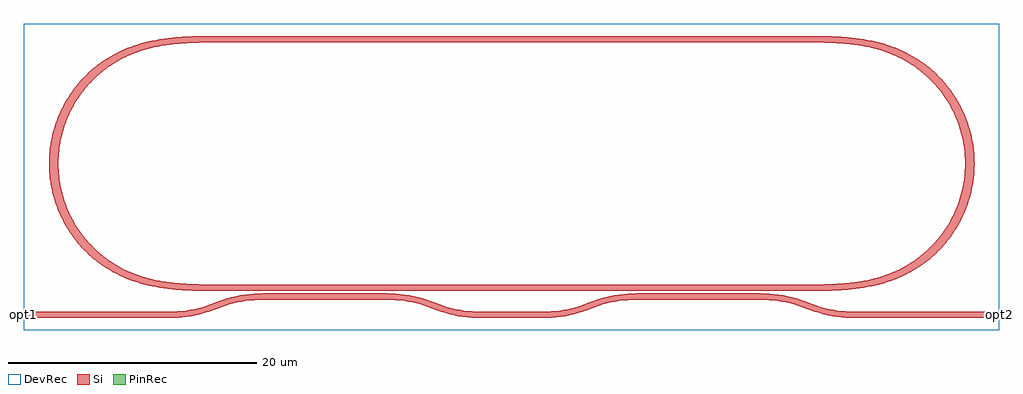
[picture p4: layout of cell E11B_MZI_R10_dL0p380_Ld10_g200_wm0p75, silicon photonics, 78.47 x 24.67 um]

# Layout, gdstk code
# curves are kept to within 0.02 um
import gdstk
lib = gdstk.Library(unit=1e-6, precision=1e-09)
def R(c, l, rs):  # rectangles x0, y0, x1, y1
    for r in rs: c.add(gdstk.rectangle(r[:2], r[2:], *l))
def P(c, l, *ps):  # polygons
    for p in ps: c.add(gdstk.Polygon(p, *l))
Si = (1, 0)
PinRec = (1, 10)
DevRec = (68, 0)

c__e11bring_r10p000_lc44p0 = lib.new_cell('_E11Bring_R10p000_Lc44p048_w0p500_wm0p750_tp30')
R(c__e11bring_r10p000_lc44p0, Si, [(-22.024,-10.25,22.024,-9.75), (-22.024,9.75,22.024,10.25)])
P(c__e11bring_r10p000_lc44p0, Si, [(-23.185,-10.25),(-26.17,-10.193),(-27.327,-10.105),(-28.314,-9.976),(-29.29,-9.783),(-30.09,-9.565),(-30.872,-9.289),(-31.63,-8.954),(-32.493,-8.475),(-33.163,-8.02),(-33.915,-7.404),(-34.603,-6.719),(-35.222,-5.969),(-35.679,-5.301),(-36.155,-4.454),(-36.487,-3.715),(-36.804,-2.797),(-37.031,-1.852),(-37.164,-0.89),(-37.204,0.081),(-37.149,1.051),(-36.965,2.17),(-36.708,3.107),(-36.361,4.014),(-35.927,4.884),(-35.411,5.707),(-34.817,6.476),(-34.152,7.184),(-33.42,7.823),(-32.63,8.388),(-31.778,8.88),(-30.872,9.29),(-29.772,9.659),(-28.804,9.888),(-27.492,10.088),(-26.17,10.193),(-24.678,10.24),(-22.024,10.25),(-22.024,9.75),(-24.543,9.741),(-26.273,9.678),(-27.839,9.515),(-29.074,9.271),(-29.83,9.054),(-30.422,8.841),(-31,8.591),(-31.561,8.304),(-32.601,7.636),(-33.086,7.253),(-33.544,6.84),(-33.974,6.398),(-34.471,5.807),(-34.917,5.179),(-35.237,4.651),(-35.522,4.103),(-35.826,3.395),(-36.073,2.664),(-36.227,2.066),(-36.364,1.308),(-36.429,0.694),(-36.454,0.077),(-36.429,-0.694),(-36.364,-1.307),(-36.227,-2.066),(-36.028,-2.811),(-35.77,-3.538),(-35.454,-4.242),(-35,-5.048),(-34.471,-5.807),(-33.974,-6.398),(-33.432,-6.946),(-32.725,-7.543),(-32.093,-7.986),(-31.423,-8.379),(-30.568,-8.781),(-29.68,-9.101),(-28.613,-9.376),(-27.683,-9.537),(-26.587,-9.655),(-25.487,-9.717),(-22.024,-9.75),(-22.024,-10.25)],
  [(22.024,-10.25),(22.024,-9.75),(24.7,-9.738),(26.273,-9.678),(27.683,-9.537),(28.921,-9.307),(29.979,-9.003),(30.857,-8.656),(31.698,-8.226),(32.477,-7.726),(33.432,-6.946),(34.179,-6.166),(34.832,-5.307),(35.384,-4.379),(35.826,-3.395),(36.155,-2.366),(36.384,-1.154),(36.454,-0.077),(36.401,1.001),(36.227,2.066),(35.932,3.105),(35.454,4.242),(34.917,5.179),(34.179,6.167),(33.432,6.946),(32.967,7.352),(32.477,7.726),(31.698,8.227),(30.857,8.657),(29.979,9.004),(28.921,9.308),(27.527,9.559),(26.273,9.678),(24.543,9.741),(22.024,9.75),(22.024,10.25),(25.838,10.209),(27.162,10.122),(27.986,10.026),(29.128,9.82),(30.09,9.565),(30.872,9.29),(31.778,8.88),(32.63,8.388),(33.42,7.823),(34.152,7.184),(34.817,6.476),(35.411,5.707),(35.927,4.884),(36.361,4.014),(36.708,3.107),(36.965,2.17),(37.13,1.212),(37.201,0.243),(37.178,-0.728),(37.06,-1.693),(36.848,-2.641),(36.546,-3.564),(36.155,-4.454),(35.764,-5.163),(35.222,-5.969),(34.603,-6.719),(34.034,-7.295),(33.42,-7.823),(32.63,-8.388),(31.778,-8.879),(31.026,-9.227),(30.09,-9.565),(29.29,-9.783),(28.314,-9.976),(27.492,-10.087),(26.335,-10.184),(25.341,-10.226)])

e11b_mzi_r10_dl0p380_ld1 = lib.new_cell('E11B_MZI_R10_dL0p380_Ld10_g200_wm0p75')
R(e11b_mzi_r10_dl0p380_ld1, Si, [(-1,-0.25,0,0.25), (0,-0.25,10.7,0.25), (35.748,-0.25,40.748,0.25), (65.796,-0.25,76.452,0.25), (76.452,-0.25,77.452,0.25), (18.224,1.219,28.224,1.719), (48.272,1.219,58.272,1.719)])
P(e11b_mzi_r10_dl0p380_ld1, Si, [(65.796,-0.25),(65.078,-0.225),(64.009,-0.093),(62.959,0.151),(61.94,0.503),(62.128,0.966),(63.097,0.631),(64.096,0.399),(65.113,0.274),(65.796,0.25)],
  [(61.94,0.503),(60.971,0.838),(59.973,1.07),(58.955,1.195),(58.272,1.219),(58.272,1.719),(58.99,1.694),(59.705,1.619),(60.763,1.412),(61.453,1.213),(62.128,0.966)],
  [(44.604,0.503),(44.416,0.966),(45.091,1.213),(45.782,1.412),(46.839,1.619),(47.554,1.694),(48.272,1.719),(48.272,1.219),(47.589,1.195),(46.572,1.07),(45.573,0.838)],
  [(35.748,-0.25),(35.03,-0.225),(33.96,-0.093),(32.911,0.151),(31.892,0.503),(32.08,0.966),(33.049,0.631),(34.048,0.399),(35.065,0.274),(35.748,0.25)],
  [(31.892,0.503),(30.923,0.838),(29.925,1.07),(28.907,1.195),(28.224,1.219),(28.224,1.719),(28.942,1.694),(29.657,1.619),(30.715,1.412),(31.405,1.213),(32.08,0.966)],
  [(14.556,0.503),(14.368,0.966),(15.043,1.213),(15.733,1.412),(16.791,1.619),(17.506,1.694),(18.224,1.719),(18.224,1.219),(17.541,1.195),(16.523,1.07),(15.525,0.838)],
  [(40.748,-0.25),(40.748,0.25),(41.431,0.274),(42.449,0.399),(43.447,0.631),(44.416,0.966),(44.604,0.503),(43.586,0.151),(42.536,-0.093),(41.466,-0.225)],
  [(10.7,-0.25),(10.7,0.25),(11.383,0.274),(12.401,0.399),(13.399,0.631),(14.368,0.966),(14.556,0.503),(13.538,0.151),(12.488,-0.093),(11.418,-0.225)])
R(e11b_mzi_r10_dl0p380_ld1, DevRec, [(-1,-1.25,77.452,23.419)])
e11b_mzi_r10_dl0p380_ld1.add(gdstk.FlexPath([(77.442,0),(77.462,0)], 0.5, ends="flush", simple_path=True, layer=1, datatype=10))  # PinRec
e11b_mzi_r10_dl0p380_ld1.add(gdstk.FlexPath([(-0.99,0),(-1.01,0)], 0.5, ends="flush", simple_path=True, layer=1, datatype=10))  # PinRec
e11b_mzi_r10_dl0p380_ld1.add(gdstk.Reference(c__e11bring_r10p000_lc44p0, (38.248,12.169)))
e11b_mzi_r10_dl0p380_ld1.add(gdstk.Label('opt2', (77.452,0), layer=1, texttype=10))
e11b_mzi_r10_dl0p380_ld1.add(gdstk.Label('opt1', (-1,0), layer=1, texttype=10))

lib.write_gds('E11B_MZI_R10_dL0p380_Ld10_g200_wm0p75.gds')
